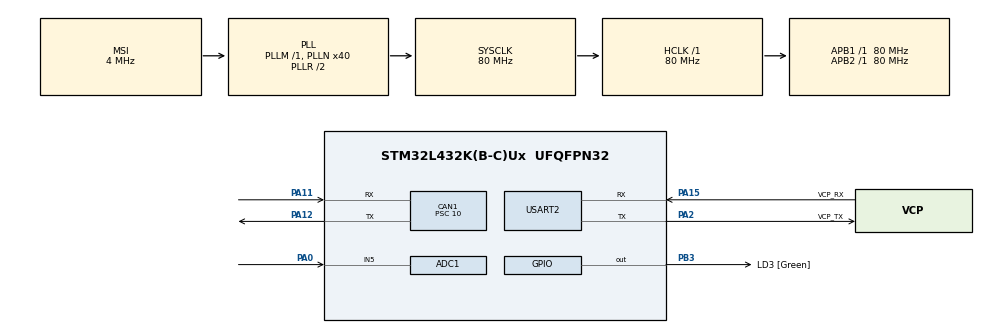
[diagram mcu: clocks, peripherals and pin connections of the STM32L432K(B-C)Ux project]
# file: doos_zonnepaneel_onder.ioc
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ADC1.Channel-0\#ChannelRegularConversion=ADC_CHANNEL_5
ADC1.NbrOfConversionFlag=1
ADC1.OffsetNumber-0\#ChannelRegularConversion=ADC_OFFSET_NONE
ADC1.Rank-0\#ChannelRegularConversion=1
ADC1.SamplingTime-0\#ChannelRegularConversion=ADC_SAMPLETIME_2CYCLES_5
ADC1.master=1
CAN1.ABOM=DISABLE
CAN1.AWUM=DISABLE
CAN1.BS1=CAN_BS1_13TQ
CAN1.BS2=CAN_BS2_2TQ
CAN1.CalculateBaudRate=500000
CAN1.CalculateTimeBit=2000
CAN1.CalculateTimeQuantum=125.0
CAN1.NART=ENABLE
CAN1.Prescaler=10
CAN1.SJW=CAN_SJW_2TQ
Mcu.Family=STM32L4
Mcu.Name=STM32L432K(B-C)Ux
Mcu.Package=UFQFPN32
NVIC.CAN1_RX0_IRQn=true\:0\:0\:false\:false\:true\:true\:true\:true
NVIC.PriorityGroup=NVIC_PRIORITYGROUP_4
PA0.Signal=ADCx_IN5
PA11.GPIO_PuPd=GPIO_NOPULL
PA11.Mode=CAN_Activate
PA11.Signal=CAN1_RX
PA12.Mode=CAN_Activate
PA12.Signal=CAN1_TX
PA13\ (JTMS-SWDIO).GPIO_Label=SWDIO
PA13\ (JTMS-SWDIO).Mode=Serial_Wire
PA13\ (JTMS-SWDIO).Signal=SYS_JTMS-SWDIO
PA14\ (JTCK-SWCLK).GPIO_Label=SWCLK
PA14\ (JTCK-SWCLK).Mode=Serial_Wire
PA14\ (JTCK-SWCLK).Signal=SYS_JTCK-SWCLK
PA15\ (JTDI).GPIO_Label=VCP_RX
PA15\ (JTDI).Mode=Asynchronous
PA15\ (JTDI).Signal=USART2_RX
PA2.GPIO_Label=VCP_TX
PA2.Mode=Asynchronous
PA2.Signal=USART2_TX
PB3\ (JTDO-TRACESWO).GPIO_Label=LD3 [Green]
PB3\ (JTDO-TRACESWO).Signal=GPIO_Output
PC14-OSC32_IN\ (PC14).Mode=LSE-External-Oscillator
PC14-OSC32_IN\ (PC14).Signal=RCC_OSC32_IN
PC15-OSC32_OUT\ (PC15).Mode=LSE-External-Oscillator
PC15-OSC32_OUT\ (PC15).Signal=RCC_OSC32_OUT
ProjectManager.HeapSize=0x200
ProjectManager.StackSize=0x400
ProjectManager.TargetToolchain=STM32CubeIDE
RCC.ADCFreq_Value=32000000
RCC.AHBFreq_Value=80000000
RCC.APB1Freq_Value=80000000
RCC.APB1TimFreq_Value=80000000
RCC.APB2Freq_Value=80000000
RCC.APB2TimFreq_Value=80000000
RCC.CortexFreq_Value=80000000
RCC.HCLKFreq_Value=80000000
RCC.HSE_VALUE=8000000
RCC.HSI16_VALUE=16000000
RCC.HSI48_VALUE=48000000
RCC.HSI_VALUE=16000000
RCC.MSI_VALUE=4000000
RCC.PLLMUL=RCC_PLLMUL_4
RCC.PLLN=40
RCC.PLLSAI1N=16
RCC.SYSCLKFreq_VALUE=80000000
RCC.SYSCLKSource=RCC_SYSCLKSOURCE_PLLCLK
RCC.USBFreq_Value=32000000
RCC.VCOOutputFreq_Value=160000000
SH.ADCx_IN5.0=ADC1_IN5,IN5-Single-Ended
USART2.VirtualMode-Asynchronous=VM_ASYNC
board=NUCLEO-L432KC

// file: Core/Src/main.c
/* USER CODE BEGIN Header */
/**
  **************************
  * @file           : main.c
  * @brief          : Main program body
  **************************
  * @attention
  *
  * Copyright (c) 2026 STMicroelectronics.
  * All rights reserved.
  *
  * This software is licensed under terms that can be found in the LICENSE file
  * in the root directory of this software component.
  * If no LICENSE file comes with this software, it is provided AS-IS.
  *
  **************************
  */
/* USER CODE END Header */
#include "main.h"

/* USER CODE BEGIN Includes */
#include <stdio.h>
#include <string.h>
/* USER CODE END Includes */

ADC_HandleTypeDef hadc1;

CAN_HandleTypeDef hcan1;

UART_HandleTypeDef huart2;

/* USER CODE BEGIN PV */
uint8_t state = 0;
CAN_RxHeaderTypeDef   rxHeader;
uint8_t               rxData[8];
volatile int datacheck = 0;
/* USER CODE END PV */

void SystemClock_Config(void);
static void MX_GPIO_Init(void);
static void MX_USART2_UART_Init(void);
static void MX_ADC1_Init(void);
static void MX_CAN1_Init(void);
/* USER CODE BEGIN PFP */
void uartPrint(char *msg);
/* USER CODE END PFP */

int main(void)
{

  /* MCU Configuration--------------------------------------------------------*/

  /* Reset of all peripherals, Initializes the Flash interface and the Systick. */
  HAL_Init();

  /* Configure the system clock */
  SystemClock_Config();

  /* Initialize all configured peripherals */
  MX_GPIO_Init();
  MX_USART2_UART_Init();
  MX_ADC1_Init();
  MX_CAN1_Init();
  /* USER CODE BEGIN 2 */
  CAN_FilterTypeDef filter;

  filter.FilterBank = 0;
  filter.FilterMode = CAN_FILTERMODE_IDMASK;
  filter.FilterScale = CAN_FILTERSCALE_32BIT;
  filter.FilterIdHigh = 0;
  filter.FilterIdLow = 0;
  filter.FilterMaskIdHigh = 0;
  filter.FilterMaskIdLow = 0;
  filter.FilterFIFOAssignment = CAN_FILTER_FIFO0;
  filter.FilterActivation = ENABLE;

  HAL_CAN_ConfigFilter(&hcan1, &filter);
  HAL_CAN_Start(&hcan1);
  if (HAL_CAN_ActivateNotification(&hcan1, CAN_IT_RX_FIFO0_MSG_PENDING) != HAL_OK)
  {
	  Error_Handler();
  }

  uint16_t voltage = { 0 };
  /* USER CODE END 2 */

  /* Infinite loop */
  /* USER CODE BEGIN WHILE */
  while (1)
  {

	    CAN_TxHeaderTypeDef header;
	    uint32_t mailbox;
	    uint8_t data[2] = {0x11, 0x12};

	    header.StdId = 0x310;
	    header.IDE = CAN_ID_STD;
	    header.RTR = CAN_RTR_DATA;
	    header.DLC = 2;
	    char txtBuffer[70] = { 0 };
	    HAL_Delay(4000);

	    // Zonnepaneel
	    HAL_ADC_Start(&hadc1);
	    HAL_ADC_PollForConversion(&hadc1, HAL_MAX_DELAY);
	    voltage = HAL_ADC_GetValue(&hadc1);
	    HAL_ADC_Stop(&hadc1);

	    int aantal = snprintf(txtBuffer, 70, "De voltage uit zonnepaneel: %d.\r\n", voltage);
	    HAL_UART_Transmit(&huart2, (uint8_t*) txtBuffer, aantal, HAL_MAX_DELAY);

	    data[0] = (voltage >> 8) & 0xFF;
	    data[1] = voltage & 0xFF;

	    if (HAL_CAN_AddTxMessage(&hcan1, &header, data, &mailbox) != HAL_OK){
	    	HAL_UART_Transmit(&huart2, "shit's fucked\r\n", 15, HAL_MAX_DELAY);
	    	//Error_Handler ();
	    	//HAL_UART_Transmit(&huart2, (uint8_t*) txtBuffer, aantal, HAL_MAX_DELAY);
	    	HAL_Delay(100);
	    	HAL_CAN_Stop(&hcan1);
	    	HAL_Delay(100);
	    	HAL_CAN_DeInit(&hcan1);
	    	HAL_Delay(100);
	    	HAL_CAN_Init(&hcan1);
	    	HAL_Delay(100);
	    	HAL_CAN_Start(&hcan1);
	    	HAL_Delay(100);
	    }
	    else {
	    	char msg[] = "CAN verstuurd!\n\r";
	    	HAL_UART_Transmit(&huart2, (uint8_t*)msg, strlen(msg), HAL_MAX_DELAY);
	    }

	    HAL_Delay(1000);
	    if (datacheck)
	    {
	    	datacheck = 0;
		    char msg2[] = "CAN ontvangen!\n\0";
		    HAL_UART_Transmit(&huart2, (uint8_t*)msg2, strlen(msg2), HAL_MAX_DELAY);

		    if (HAL_CAN_AddTxMessage(&hcan1, &header, data, &mailbox) != HAL_OK){
		    	Error_Handler ();
		    	HAL_UART_Transmit(&huart2, (uint8_t*) txtBuffer, aantal, HAL_MAX_DELAY);
		    }
		    else {
		    	char msg[] = "CAN verstuurd!\n\r";
		    	HAL_UART_Transmit(&huart2, (uint8_t*)msg, strlen(msg), HAL_MAX_DELAY);
		    }
	    }
    /* USER CODE END WHILE */

  }
}

void SystemClock_Config(void)
{
  RCC_OscInitTypeDef RCC_OscInitStruct = {0};
  RCC_ClkInitTypeDef RCC_ClkInitStruct = {0};

  /** Configure the main internal regulator output voltage
  */
  if (HAL_PWREx_ControlVoltageScaling(PWR_REGULATOR_VOLTAGE_SCALE1) != HAL_OK)
  {
    Error_Handler();
  }

  /** Configure LSE Drive Capability
  */
  HAL_PWR_EnableBkUpAccess();
  __HAL_RCC_LSEDRIVE_CONFIG(RCC_LSEDRIVE_LOW);

  /** Initializes the RCC Oscillators according to the specified parameters
  * in the RCC_OscInitTypeDef structure.
  */
  RCC_OscInitStruct.OscillatorType = RCC_OSCILLATORTYPE_LSE|RCC_OSCILLATORTYPE_MSI;
  RCC_OscInitStruct.LSEState = RCC_LSE_ON;
  RCC_OscInitStruct.MSIState = RCC_MSI_ON;
  RCC_OscInitStruct.MSICalibrationValue = 0;
  RCC_OscInitStruct.MSIClockRange = RCC_MSIRANGE_6;
  RCC_OscInitStruct.PLL.PLLState = RCC_PLL_ON;
  RCC_OscInitStruct.PLL.PLLSource = RCC_PLLSOURCE_MSI;
  RCC_OscInitStruct.PLL.PLLM = 1;
  RCC_OscInitStruct.PLL.PLLN = 40;
  RCC_OscInitStruct.PLL.PLLP = RCC_PLLP_DIV7;
  RCC_OscInitStruct.PLL.PLLQ = RCC_PLLQ_DIV2;
  RCC_OscInitStruct.PLL.PLLR = RCC_PLLR_DIV2;
  if (HAL_RCC_OscConfig(&RCC_OscInitStruct) != HAL_OK)
  {
    Error_Handler();
  }

  /** Initializes the CPU, AHB and APB buses clocks
  */
  RCC_ClkInitStruct.ClockType = RCC_CLOCKTYPE_HCLK|RCC_CLOCKTYPE_SYSCLK
                              |RCC_CLOCKTYPE_PCLK1|RCC_CLOCKTYPE_PCLK2;
  RCC_ClkInitStruct.SYSCLKSource = RCC_SYSCLKSOURCE_PLLCLK;
  RCC_ClkInitStruct.AHBCLKDivider = RCC_SYSCLK_DIV1;
  RCC_ClkInitStruct.APB1CLKDivider = RCC_HCLK_DIV1;
  RCC_ClkInitStruct.APB2CLKDivider = RCC_HCLK_DIV1;

  if (HAL_RCC_ClockConfig(&RCC_ClkInitStruct, FLASH_LATENCY_4) != HAL_OK)
  {
    Error_Handler();
  }

  /** Enable MSI Auto calibration
  */
  HAL_RCCEx_EnableMSIPLLMode();
}

static void MX_ADC1_Init(void)
{

  ADC_ChannelConfTypeDef sConfig = {0};

  /** Common config
  */
  hadc1.Instance = ADC1;
  hadc1.Init.ClockPrescaler = ADC_CLOCK_ASYNC_DIV1;
  hadc1.Init.Resolution = ADC_RESOLUTION_12B;
  hadc1.Init.DataAlign = ADC_DATAALIGN_RIGHT;
  hadc1.Init.ScanConvMode = ADC_SCAN_DISABLE;
  hadc1.Init.EOCSelection = ADC_EOC_SINGLE_CONV;
  hadc1.Init.LowPowerAutoWait = DISABLE;
  hadc1.Init.ContinuousConvMode = DISABLE;
  hadc1.Init.NbrOfConversion = 1;
  hadc1.Init.DiscontinuousConvMode = DISABLE;
  hadc1.Init.ExternalTrigConv = ADC_SOFTWARE_START;
  hadc1.Init.ExternalTrigConvEdge = ADC_EXTERNALTRIGCONVEDGE_NONE;
  hadc1.Init.DMAContinuousRequests = DISABLE;
  hadc1.Init.Overrun = ADC_OVR_DATA_PRESERVED;
  hadc1.Init.OversamplingMode = DISABLE;
  if (HAL_ADC_Init(&hadc1) != HAL_OK)
  {
    Error_Handler();
  }

  /** Configure Regular Channel
  */
  sConfig.Channel = ADC_CHANNEL_5;
  sConfig.Rank = ADC_REGULAR_RANK_1;
  sConfig.SamplingTime = ADC_SAMPLETIME_2CYCLES_5;
  sConfig.SingleDiff = ADC_SINGLE_ENDED;
  sConfig.OffsetNumber = ADC_OFFSET_NONE;
  sConfig.Offset = 0;
  if (HAL_ADC_ConfigChannel(&hadc1, &sConfig) != HAL_OK)
  {
    Error_Handler();
  }

}

static void MX_CAN1_Init(void)
{

  hcan1.Instance = CAN1;
  hcan1.Init.Prescaler = 10;
  hcan1.Init.Mode = CAN_MODE_NORMAL;
  hcan1.Init.SyncJumpWidth = CAN_SJW_2TQ;
  hcan1.Init.TimeSeg1 = CAN_BS1_13TQ;
  hcan1.Init.TimeSeg2 = CAN_BS2_2TQ;
  hcan1.Init.TimeTriggeredMode = DISABLE;
  hcan1.Init.AutoBusOff = DISABLE;
  hcan1.Init.AutoWakeUp = DISABLE;
  hcan1.Init.AutoRetransmission = ENABLE;
  hcan1.Init.ReceiveFifoLocked = DISABLE;
  hcan1.Init.TransmitFifoPriority = DISABLE;
  if (HAL_CAN_Init(&hcan1) != HAL_OK)
  {
    Error_Handler();
  }

}

static void MX_USART2_UART_Init(void)
{

  huart2.Instance = USART2;
  huart2.Init.BaudRate = 115200;
  huart2.Init.WordLength = UART_WORDLENGTH_8B;
  huart2.Init.StopBits = UART_STOPBITS_1;
  huart2.Init.Parity = UART_PARITY_NONE;
  huart2.Init.Mode = UART_MODE_TX_RX;
  huart2.Init.HwFlowCtl = UART_HWCONTROL_NONE;
  huart2.Init.OverSampling = UART_OVERSAMPLING_16;
  huart2.Init.OneBitSampling = UART_ONE_BIT_SAMPLE_DISABLE;
  huart2.AdvancedInit.AdvFeatureInit = UART_ADVFEATURE_NO_INIT;
  if (HAL_UART_Init(&huart2) != HAL_OK)
  {
    Error_Handler();
  }

}

static void MX_GPIO_Init(void)
{
  GPIO_InitTypeDef GPIO_InitStruct = {0};

  /* GPIO Ports Clock Enable */
  __HAL_RCC_GPIOC_CLK_ENABLE();
  __HAL_RCC_GPIOA_CLK_ENABLE();
  __HAL_RCC_GPIOB_CLK_ENABLE();

  /*Configure GPIO pin Output Level */
  HAL_GPIO_WritePin(LD3_GPIO_Port, LD3_Pin, GPIO_PIN_RESET);

  /*Configure GPIO pin : LD3_Pin */
  GPIO_InitStruct.Pin = LD3_Pin;
  GPIO_InitStruct.Mode = GPIO_MODE_OUTPUT_PP;
  GPIO_InitStruct.Pull = GPIO_NOPULL;
  GPIO_InitStruct.Speed = GPIO_SPEED_FREQ_LOW;
  HAL_GPIO_Init(LD3_GPIO_Port, &GPIO_InitStruct);

}

/* USER CODE BEGIN 4 */
void HAL_CAN_RxFifo0MsgPendingCallback(CAN_HandleTypeDef *hcan)
{
  if (HAL_CAN_GetRxMessage(hcan, CAN_RX_FIFO0, &rxHeader, rxData) != HAL_OK)
  {
    Error_Handler();
  }
  if ((rxHeader.StdId == 310))
  {
	  datacheck = 1;
  }
}

/* USER CODE END 4 */

void Error_Handler(void)
{
  __disable_irq();
  while (1)
  {
  }
}
